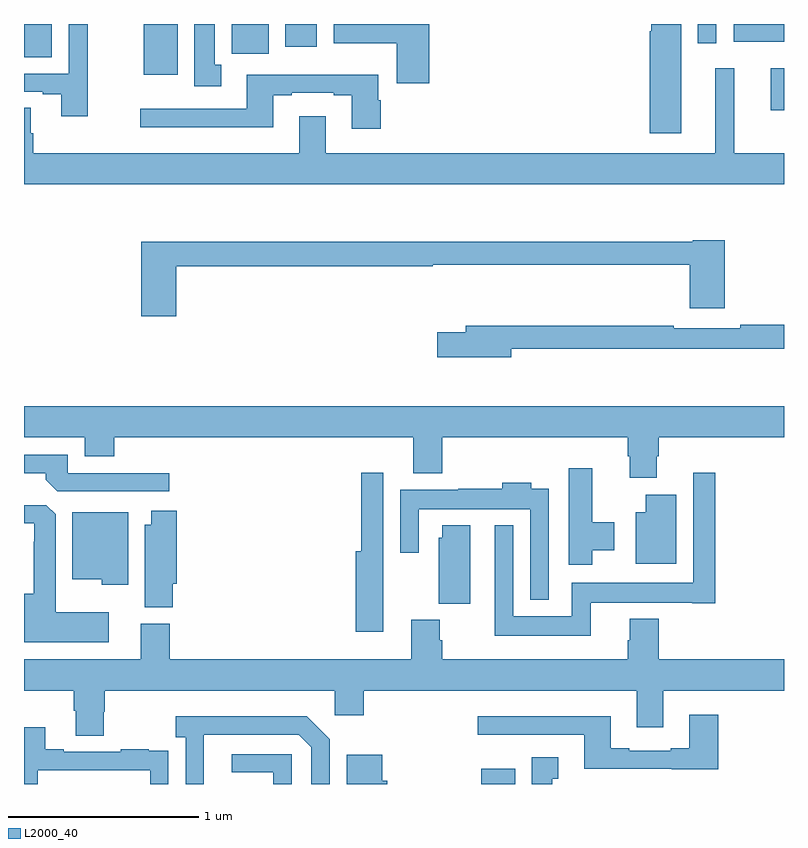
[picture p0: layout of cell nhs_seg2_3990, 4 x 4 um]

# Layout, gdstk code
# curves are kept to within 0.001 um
import gdstk
lib = gdstk.Library(unit=1e-6, precision=1e-09)
def R(c, l, rs):  # rectangles x0, y0, x1, y1
    for r in rs: c.add(gdstk.rectangle(r[:2], r[2:], *l))
def P(c, l, *ps):  # polygons
    for p in ps: c.add(gdstk.Polygon(p, *l))
L2000_40 = (2000, 40)

nhs_seg2_3990 = lib.new_cell('nhs_seg2_3990')
R(nhs_seg2_3990, L2000_40, [(325.406,657.8,325.585,657.88), (326.93,661.347,327,661.567), (323.63,661.532,323.809,661.8), (323,661.624,323.146,661.8), (324.093,661.644,324.289,661.8), (324.374,661.68,324.541,661.8), (326.547,661.698,326.643,661.8), (326.735,661.706,327,661.8)])
P(nhs_seg2_3990, L2000_40, [(326.458,661.8),(326.3,661.8),(326.3,661.761),(326.294,661.761),(326.294,661.224),(326.458,661.224)],
  [(325.133,661.8),(324.629,661.8),(324.629,661.7),(324.962,661.7),(324.962,661.488),(325.133,661.488)],
  [(324.037,661.585),(324.004,661.585),(324.004,661.8),(323.897,661.8),(323.897,661.473),(324.037,661.473)],
  [(323.336,661.8),(323.235,661.8),(323.235,661.539),(323,661.539),(323,661.443),(323.099,661.443),(323.099,661.431),(323.195,661.431),(323.195,661.314),(323.336,661.314)],
  [(327,661.12),(326.738,661.12),(326.738,661.567),(326.639,661.567),(326.639,661.12),(324.589,661.12),(324.589,661.315),(324.449,661.315),(324.449,661.12),(323.048,661.12),(323.048,661.226),(323.035,661.226),(323.035,661.358),(323,661.358),(323,660.956),(327,660.956)],
  [(324.878,661.4),(324.865,661.4),(324.865,661.534),(324.173,661.534),(324.173,661.353),(323.613,661.353),(323.613,661.256),(324.313,661.256),(324.313,661.425),(324.409,661.425),(324.409,661.437),(324.629,661.437),(324.629,661.425),(324.725,661.425),(324.725,661.248),(324.878,661.248)],
  [(323.801,660.526),(325.152,660.526),(325.152,660.534),(326.504,660.534),(326.504,660.303),(326.687,660.303),(326.687,660.663),(326.52,660.663),(326.52,660.655),(323.618,660.655),(323.618,660.261),(323.801,660.261)],
  [(325.564,660.09),(327,660.09),(327,660.218),(326.77,660.218),(326.77,660.198),(326.42,660.198),(326.42,660.211),(325.325,660.211),(325.325,660.177),(325.176,660.177),(325.176,660.047),(325.564,660.047)],
  [(326.329,659.526),(326.342,659.526),(326.342,659.624),(327,659.624),(327,659.788),(323,659.788),(323,659.624),(323.321,659.624),(323.321,659.525),(323.474,659.525),(323.474,659.624),(325.049,659.624),(325.049,659.435),(325.202,659.435),(325.202,659.624),(326.177,659.624),(326.177,659.526),(326.189,659.526),(326.189,659.412),(326.329,659.412)],
  [(323.764,659.436),(323.229,659.436),(323.229,659.532),(323,659.532),(323,659.436),(323.114,659.436),(323.114,659.402),(323.175,659.34),(323.764,659.34)],
  [(325.99,659.03),(326.107,659.03),(326.107,659.178),(325.99,659.178),(325.99,659.461),(325.868,659.461),(325.868,658.953),(325.99,658.953)],
  [(325.982,658.754),(326.516,658.754),(326.516,658.752),(326.639,658.752),(326.639,659.437),(326.523,659.437),(326.523,658.858),(325.884,658.858),(325.884,658.684),(325.575,658.684),(325.575,659.161),(325.478,659.161),(325.478,658.58),(325.982,658.58)],
  [(324.892,658.922),(324.891,658.922),(324.891,659.437),(324.775,659.437),(324.775,659.026),(324.746,659.026),(324.746,658.602),(324.892,658.602)],
  [(325.761,659.353),(325.669,659.353),(325.669,659.386),(325.517,659.386),(325.517,659.353),(325.285,659.353),(325.285,659.35),(324.981,659.35),(324.981,659.016),(325.077,659.016),(325.077,659.246),(325.665,659.246),(325.665,658.769),(325.761,658.769)],
  [(326.434,659.323),(326.273,659.323),(326.273,659.23),(326.219,659.23),(326.219,658.958),(326.434,658.958)],
  [(323.446,658.705),(323.167,658.705),(323.167,659.219),(323.118,659.268),(323,659.268),(323,659.172),(323.055,659.172),(323.055,659.075),(323.051,659.075),(323.051,658.801),(323,658.801),(323,658.547),(323.446,658.547)],
  [(323.783,658.854),(323.804,658.854),(323.804,659.239),(323.669,659.239),(323.669,659.164),(323.636,659.164),(323.636,658.729),(323.783,658.729)],
  [(323.548,659.23),(323.255,659.23),(323.255,658.877),(323.409,658.877),(323.409,658.85),(323.548,658.85)],
  [(325.348,659.161),(325.202,659.161),(325.202,659.097),(325.184,659.097),(325.184,658.75),(325.348,658.75)],
  [(323.421,658.179),(323.426,658.179),(323.426,658.292),(324.636,658.292),(324.636,658.161),(324.788,658.161),(324.788,658.292),(326.225,658.292),(326.225,658.098),(326.365,658.098),(326.365,658.292),(327,658.292),(327,658.456),(326.342,658.456),(326.342,658.669),(326.189,658.669),(326.189,658.557),(326.177,658.557),(326.177,658.456),(325.202,658.456),(325.202,658.556),(325.189,658.556),(325.189,658.665),(325.037,658.665),(325.037,658.456),(323.768,658.456),(323.768,658.644),(323.615,658.644),(323.615,658.456),(323,658.456),(323,658.292),(323.261,658.292),(323.261,658.186),(323.273,658.186),(323.273,658.054),(323.421,658.054)],
  [(326.654,658.165),(326.501,658.165),(326.501,657.988),(326.405,657.988),(326.405,657.975),(326.185,657.975),(326.185,657.988),(326.089,657.988),(326.089,658.156),(325.389,658.156),(325.389,658.059),(325.949,658.059),(325.949,657.879),(326.409,657.879),(326.409,657.878),(326.654,657.878)],
  [(323.946,657.859),(323.947,658.059),(324.447,658.059),(324.513,657.993),(324.513,657.8),(324.609,657.8),(324.609,658.035),(324.488,658.156),(323.799,658.156),(323.799,658.046),(323.85,658.046),(323.85,657.8),(323.946,657.8)],
  [(323.073,657.873),(323.664,657.873),(323.664,657.8),(323.76,657.8),(323.76,657.866),(323.759,657.866),(323.759,657.975),(323.657,657.975),(323.657,657.982),(323.509,657.982),(323.509,657.969),(323.209,657.969),(323.209,657.982),(323.113,657.982),(323.113,658.099),(323,658.099),(323,657.8),(323.073,657.8)],
  [(324.408,657.957),(324.093,657.957),(324.093,657.861),(324.312,657.861),(324.312,657.8),(324.408,657.8)],
  [(324.911,657.816),(324.886,657.816),(324.886,657.955),(324.698,657.955),(324.698,657.8),(324.911,657.8)],
  [(325.78,657.827),(325.813,657.827),(325.813,657.94),(325.673,657.94),(325.673,657.8),(325.78,657.8)])

lib.write_gds('nhs_seg2_3990.gds')
